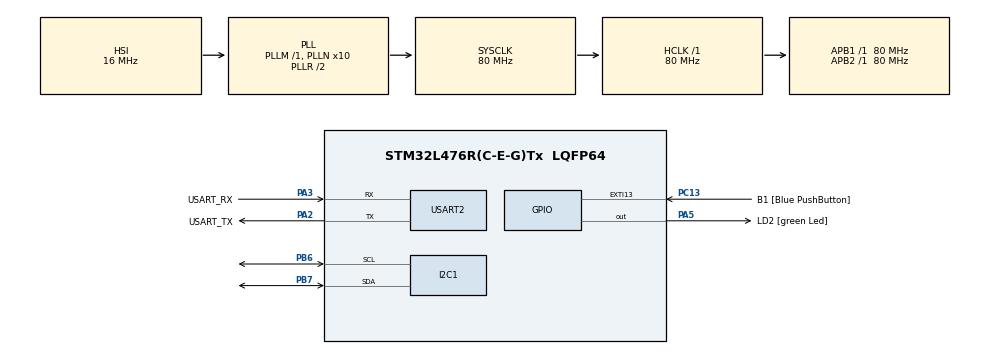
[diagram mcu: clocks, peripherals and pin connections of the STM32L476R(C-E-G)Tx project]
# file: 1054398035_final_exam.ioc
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I2C1.Timing=0x10909CEC
Mcu.Family=STM32L4
Mcu.Name=STM32L476R(C-E-G)Tx
Mcu.Package=LQFP64
NVIC.PriorityGroup=NVIC_PRIORITYGROUP_4
PA13\ (JTMS-SWDIO).GPIO_Label=TMS
PA13\ (JTMS-SWDIO).Mode=Serial_Wire
PA13\ (JTMS-SWDIO).Signal=SYS_JTMS-SWDIO
PA14\ (JTCK-SWCLK).GPIO_Label=TCK
PA14\ (JTCK-SWCLK).Mode=Serial_Wire
PA14\ (JTCK-SWCLK).Signal=SYS_JTCK-SWCLK
PA2.GPIO_Label=USART_TX
PA2.GPIO_Mode=GPIO_MODE_AF_PP
PA2.GPIO_PuPd=GPIO_NOPULL
PA2.GPIO_Speed=GPIO_SPEED_FREQ_VERY_HIGH
PA2.Mode=Asynchronous
PA2.Signal=USART2_TX
PA3.GPIO_Label=USART_RX
PA3.GPIO_Mode=GPIO_MODE_AF_PP
PA3.GPIO_PuPd=GPIO_NOPULL
PA3.GPIO_Speed=GPIO_SPEED_FREQ_VERY_HIGH
PA3.Mode=Asynchronous
PA3.Signal=USART2_RX
PA5.GPIO_Label=LD2 [green Led]
PA5.GPIO_ModeDefaultOutputPP=GPIO_MODE_OUTPUT_PP
PA5.GPIO_PuPd=GPIO_NOPULL
PA5.GPIO_Speed=GPIO_SPEED_FREQ_LOW
PA5.Signal=GPIO_Output
PB3\ (JTDO-TRACESWO).GPIO_Label=SWO
PB3\ (JTDO-TRACESWO).Signal=SYS_JTDO-SWO
PB6.Mode=I2C
PB6.Signal=I2C1_SCL
PB7.Mode=I2C
PB7.Signal=I2C1_SDA
PC13.GPIO_Label=B1 [Blue PushButton]
PC13.GPIO_ModeDefaultEXTI=GPIO_MODE_IT_FALLING
PC13.GPIO_PuPd=GPIO_NOPULL
PC13.Signal=GPXTI13
PC14-OSC32_IN\ (PC14).Mode=LSE-External-Oscillator
PC14-OSC32_IN\ (PC14).Signal=RCC_OSC32_IN
PC15-OSC32_OUT\ (PC15).Mode=LSE-External-Oscillator
PC15-OSC32_OUT\ (PC15).Signal=RCC_OSC32_OUT
PH0-OSC_IN\ (PH0).Signal=RCC_OSC_IN
PH1-OSC_OUT\ (PH1).Signal=RCC_OSC_OUT
ProjectManager.HeapSize=0x200
ProjectManager.StackSize=0x400
ProjectManager.TargetToolchain=STM32CubeIDE
RCC.ADCFreq_Value=64000000
RCC.AHBFreq_Value=80000000
RCC.APB1Freq_Value=80000000
RCC.APB1TimFreq_Value=80000000
RCC.APB2Freq_Value=80000000
RCC.APB2TimFreq_Value=80000000
RCC.CortexFreq_Value=80000000
RCC.HCLKFreq_Value=80000000
RCC.HSE_VALUE=8000000
RCC.HSI_VALUE=16000000
RCC.MSI_VALUE=4000000
RCC.PLLN=10
RCC.PLLSourceVirtual=RCC_PLLSOURCE_HSI
RCC.PREFETCH_ENABLE=1
RCC.SYSCLKFreq_VALUE=80000000
RCC.SYSCLKSource=RCC_SYSCLKSOURCE_PLLCLK
RCC.USBFreq_Value=64000000
RCC.VCOOutputFreq_Value=160000000
USART2.VirtualMode-Asynchronous=VM_ASYNC
board=NUCLEO-L476RG

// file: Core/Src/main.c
/* USER CODE BEGIN Header */
/**
  ******************************************************************************
  * @file           : main.c
  * @brief          : Main program body
  ******************************************************************************
  * @attention
  *
  * Copyright (c) 2023 STMicroelectronics.
  * All rights reserved.
  *
  * This software is licensed under terms that can be found in the LICENSE file
  * in the root directory of this software component.
  * If no LICENSE file comes with this software, it is provided AS-IS.
  *
  ******************************************************************************
  */
/* USER CODE END Header */
#include "main.h"

/* USER CODE BEGIN Includes */
#include <stdio.h>
#include <string.h>

#include "ring_buffer.h"

#include "ssd1306.h"
#include "ssd1306_fonts.h"
/* USER CODE END Includes */

I2C_HandleTypeDef hi2c1;

UART_HandleTypeDef huart2;

/* USER CODE BEGIN PV */
ring_buffer_t ring_buffer_uart_rx;
uint8_t rx_buffer[16];
uint8_t rx_data;
uint8_t tx_busy = 0;
/* USER CODE END PV */

void SystemClock_Config(void);
static void MX_GPIO_Init(void);
static void MX_USART2_UART_Init(void);
static void MX_I2C1_Init(void);

/* USER CODE BEGIN 0 */

int _write(int file, char *ptr, int len)
{
  HAL_UART_Transmit(&huart2, (uint8_t *)ptr, len, 10);
	while (tx_busy != 0) {/* Wait */}
  HAL_UART_Transmit_DMA(&huart2, (uint8_t *)ptr, len);
  tx_busy = 1;
  return len;
}

//El dispositivo debe poder recibir comandos desde un computador.
void HAL_UART_RxCpltCallback(UART_HandleTypeDef *huart)
{
	printf("Received: [%s]\r\n", rx_buffer);
	HAL_UART_Receive_IT(&huart2, rx_buffer, 1);
}

void HAL_UART_TxCpltCallback(UART_HandleTypeDef *huart)
{
	tx_busy = 0;
}
//Procesamiento de comandos
//void validate_sequence(void)
//{
//	printf("Validating\r\n");
//	uint8_t cedula[10] = "1054398035";
//	uint8_t sequence[10];
//	for (uint8_t idx = 0; idx < 5; idx++) {
//	  ring_buffer_get(HAL_UART_Receive_IT, &sequence[idx]);
//	}
//	if (memcmp(birth_date, sequence, 10) == 0) {
//	  	ssd1306_SetCursor(20, 20);
//	  	ssd1306_WriteString("Success", Font_16x26, White);
//
//
//	} else {
//	  ssd1306_SetCursor(20, 20);
//	  ssd1306_WriteString("Fail", Font_16x26, White);
//	}
//	ssd1306_UpdateScreen();
//}
/* USER CODE END 0 */

int main(void)
{

  /* MCU Configuration--------------------------------------------------------*/

  /* Reset of all peripherals, Initializes the Flash interface and the Systick. */
  HAL_Init();

  /* Configure the system clock */
  SystemClock_Config();

  /* Initialize all configured peripherals */
  MX_GPIO_Init();
  MX_USART2_UART_Init();
  MX_I2C1_Init();
  /* USER CODE BEGIN 2 */
  HAL_UART_Receive_IT(&huart2, rx_buffer, 1);
  ring_buffer_init(&ring_buffer_uart_rx, rx_buffer, 16);

  HAL_UART_Receive_IT(&huart2, &rx_data, 1);
//El dispositivo debe mostrar el mensaje "Waiting" en modo normal
  ssd1306_Init();
  ssd1306_Fill(Black);
  ssd1306_SetCursor(20, 20);
  ssd1306_WriteString("Waiting", Font_16x26, White);
  ssd1306_UpdateScreen();
  //
  /* USER CODE END 2 */

  /* Infinite loop */
  while (1)
  {

  }
}

void SystemClock_Config(void)
{
  RCC_OscInitTypeDef RCC_OscInitStruct = {0};
  RCC_ClkInitTypeDef RCC_ClkInitStruct = {0};

  /** Configure the main internal regulator output voltage
  */
  if (HAL_PWREx_ControlVoltageScaling(PWR_REGULATOR_VOLTAGE_SCALE1) != HAL_OK)
  {
    Error_Handler();
  }

  /** Initializes the RCC Oscillators according to the specified parameters
  * in the RCC_OscInitTypeDef structure.
  */
  RCC_OscInitStruct.OscillatorType = RCC_OSCILLATORTYPE_HSI;
  RCC_OscInitStruct.HSIState = RCC_HSI_ON;
  RCC_OscInitStruct.HSICalibrationValue = RCC_HSICALIBRATION_DEFAULT;
  RCC_OscInitStruct.PLL.PLLState = RCC_PLL_ON;
  RCC_OscInitStruct.PLL.PLLSource = RCC_PLLSOURCE_HSI;
  RCC_OscInitStruct.PLL.PLLM = 1;
  RCC_OscInitStruct.PLL.PLLN = 10;
  RCC_OscInitStruct.PLL.PLLP = RCC_PLLP_DIV7;
  RCC_OscInitStruct.PLL.PLLQ = RCC_PLLQ_DIV2;
  RCC_OscInitStruct.PLL.PLLR = RCC_PLLR_DIV2;
  if (HAL_RCC_OscConfig(&RCC_OscInitStruct) != HAL_OK)
  {
    Error_Handler();
  }

  /** Initializes the CPU, AHB and APB buses clocks
  */
  RCC_ClkInitStruct.ClockType = RCC_CLOCKTYPE_HCLK|RCC_CLOCKTYPE_SYSCLK
                              |RCC_CLOCKTYPE_PCLK1|RCC_CLOCKTYPE_PCLK2;
  RCC_ClkInitStruct.SYSCLKSource = RCC_SYSCLKSOURCE_PLLCLK;
  RCC_ClkInitStruct.AHBCLKDivider = RCC_SYSCLK_DIV1;
  RCC_ClkInitStruct.APB1CLKDivider = RCC_HCLK_DIV1;
  RCC_ClkInitStruct.APB2CLKDivider = RCC_HCLK_DIV1;

  if (HAL_RCC_ClockConfig(&RCC_ClkInitStruct, FLASH_LATENCY_4) != HAL_OK)
  {
    Error_Handler();
  }
}

static void MX_I2C1_Init(void)
{

  hi2c1.Instance = I2C1;
  hi2c1.Init.Timing = 0x10909CEC;
  hi2c1.Init.OwnAddress1 = 0;
  hi2c1.Init.AddressingMode = I2C_ADDRESSINGMODE_7BIT;
  hi2c1.Init.DualAddressMode = I2C_DUALADDRESS_DISABLE;
  hi2c1.Init.OwnAddress2 = 0;
  hi2c1.Init.OwnAddress2Masks = I2C_OA2_NOMASK;
  hi2c1.Init.GeneralCallMode = I2C_GENERALCALL_DISABLE;
  hi2c1.Init.NoStretchMode = I2C_NOSTRETCH_DISABLE;
  if (HAL_I2C_Init(&hi2c1) != HAL_OK)
  {
    Error_Handler();
  }

  /** Configure Analogue filter
  */
  if (HAL_I2CEx_ConfigAnalogFilter(&hi2c1, I2C_ANALOGFILTER_ENABLE) != HAL_OK)
  {
    Error_Handler();
  }

  /** Configure Digital filter
  */
  if (HAL_I2CEx_ConfigDigitalFilter(&hi2c1, 0) != HAL_OK)
  {
    Error_Handler();
  }

}

static void MX_USART2_UART_Init(void)
{

  huart2.Instance = USART2;
  huart2.Init.BaudRate = 115200;
  huart2.Init.WordLength = UART_WORDLENGTH_8B;
  huart2.Init.StopBits = UART_STOPBITS_1;
  huart2.Init.Parity = UART_PARITY_NONE;
  huart2.Init.Mode = UART_MODE_TX_RX;
  huart2.Init.HwFlowCtl = UART_HWCONTROL_NONE;
  huart2.Init.OverSampling = UART_OVERSAMPLING_16;
  huart2.Init.OneBitSampling = UART_ONE_BIT_SAMPLE_DISABLE;
  huart2.AdvancedInit.AdvFeatureInit = UART_ADVFEATURE_NO_INIT;
  if (HAL_UART_Init(&huart2) != HAL_OK)
  {
    Error_Handler();
  }

}

static void MX_GPIO_Init(void)
{
  GPIO_InitTypeDef GPIO_InitStruct = {0};

  /* GPIO Ports Clock Enable */
  __HAL_RCC_GPIOC_CLK_ENABLE();
  __HAL_RCC_GPIOH_CLK_ENABLE();
  __HAL_RCC_GPIOA_CLK_ENABLE();
  __HAL_RCC_GPIOB_CLK_ENABLE();

  /*Configure GPIO pin Output Level */
  HAL_GPIO_WritePin(LD2_GPIO_Port, LD2_Pin, GPIO_PIN_RESET);

  /*Configure GPIO pin : B1_Pin */
  GPIO_InitStruct.Pin = B1_Pin;
  GPIO_InitStruct.Mode = GPIO_MODE_IT_FALLING;
  GPIO_InitStruct.Pull = GPIO_NOPULL;
  HAL_GPIO_Init(B1_GPIO_Port, &GPIO_InitStruct);

  /*Configure GPIO pin : LD2_Pin */
  GPIO_InitStruct.Pin = LD2_Pin;
  GPIO_InitStruct.Mode = GPIO_MODE_OUTPUT_PP;
  GPIO_InitStruct.Pull = GPIO_NOPULL;
  GPIO_InitStruct.Speed = GPIO_SPEED_FREQ_LOW;
  HAL_GPIO_Init(LD2_GPIO_Port, &GPIO_InitStruct);

}

void Error_Handler(void)
{
  __disable_irq();
  while (1)
  {
  }
}
